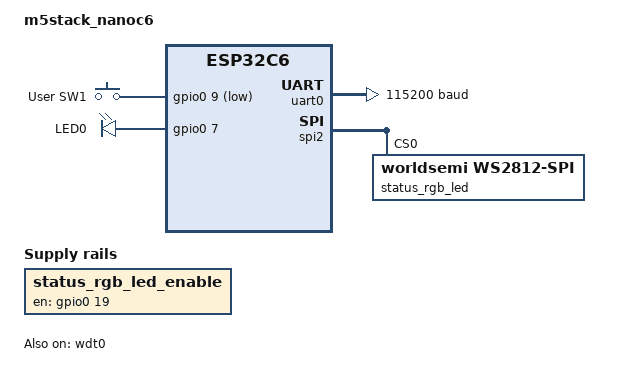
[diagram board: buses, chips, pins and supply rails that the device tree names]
/*
 * Copyright (c) 2023 Espressif Systems (Shanghai) Co., Ltd.
 *
 * SPDX-License-Identifier: Apache-2.0
 */

/dts-v1/;

#include <espressif/esp32c6/esp32c6_wroom_n4.dtsi>
#include "m5stack_nanoc6-pinctrl.dtsi"
#include "grove_connectors.dtsi"
#include <zephyr/dt-bindings/input/input-event-codes.h>
#include <zephyr/dt-bindings/led/led.h>
#include <zephyr/dt-bindings/led/worldsemi_ws2812c.h>

/ {
	model = "m5stack_nanoc6";
	compatible = "m5stack,nanoc6";

	chosen {
		zephyr,sram = &sram0;
		zephyr,console = &uart0;
		zephyr,shell-uart = &uart0;
		zephyr,flash = &flash0;
		zephyr,code-partition = &slot0_partition;
	};

	aliases {
		sw0 = &user_button1;
		watchdog0 = &wdt0;
		led0 = &blue_led;
		led-strip = &status_rgb_led;
	};

	gpio_keys {
		compatible = "gpio-keys";
		user_button1: button_1 {
			label = "User SW1";
			gpios = <&gpio0 9 (GPIO_PULL_UP | GPIO_ACTIVE_LOW)>;
			zephyr,code = <INPUT_KEY_0>;
		};
	};

	leds {
		compatible = "gpio-leds";

		blue_led: led_0 {
			gpios =  <&gpio0 7 GPIO_ACTIVE_HIGH>;
			label = "LED0";
		};

	};

	status_rgb_led_en {
		compatible = "regulator-fixed";
		regulator-name = "status_rgb_led_enable";
		enable-gpios = <&gpio0 19 GPIO_ACTIVE_HIGH>;
		regulator-boot-on;
	};

};

&uart0 {
	status = "okay";
	current-speed = <115200>;
	pinctrl-0 = <&uart0_default>;
	pinctrl-names = "default";
};

&spi2 {
	#address-cells = <1>;
	#size-cells = <0>;
	status = "okay";
	line-idle-low;
	pinctrl-0 = <&spim2_ws2812_led>;
	pinctrl-names = "default";

	status_rgb_led: ws2812@0 {
		compatible = "worldsemi,ws2812-spi";
		reg = <0>;
		spi-max-frequency = <WS2812C_SPI_FREQ>;

		chain-length = <1>;
		color-mapping =	<LED_COLOR_ID_GREEN>,
			<LED_COLOR_ID_RED>,
			<LED_COLOR_ID_BLUE>;
		spi-one-frame = <WS2812C_ONE_FRAME>;
		spi-zero-frame = <WS2812C_ZERO_FRAME>;
	};
};


&gpio0 {
	status = "okay";
};

&wdt0 {
	status = "okay";
};

&flash0 {
	status = "okay";
	partitions {
		compatible = "fixed-partitions";
		#address-cells = <1>;
		#size-cells = <1>;

		/* Reserve 60kB for the bootloader */
		boot_partition: partition@0 {
			label = "mcuboot";
			reg = <0x00000000 0x0000F000>;
			read-only;
		};

		/* Reserve 1024kB for the application in slot 0 */
		slot0_partition: partition@10000 {
			label = "image-0";
			reg = <0x00010000 0x00100000>;
		};

		/* Reserve 1024kB for the application in slot 1 */
		slot1_partition: partition@110000 {
			label = "image-1";
			reg = <0x00110000 0x00100000>;
		};

		/* Reserve 256kB for the scratch partition */
		scratch_partition: partition@210000 {
			   label = "image-scratch";
			   reg = <0x00210000 0x00040000>;
		};

		storage_partition: partition@250000 {
			label = "storage";
			reg = <0x00250000 0x00006000>;
		};
	};
};
